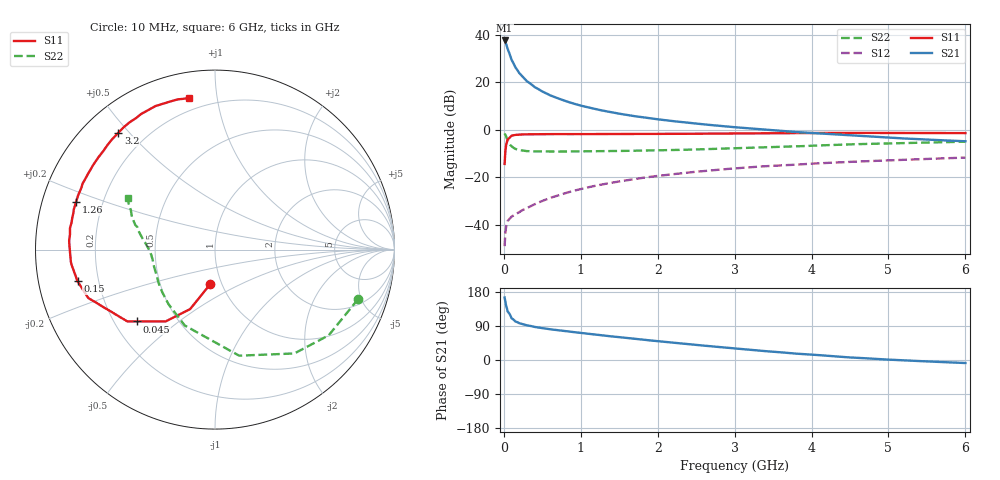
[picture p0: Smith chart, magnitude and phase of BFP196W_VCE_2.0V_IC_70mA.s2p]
! Infineon Technologies  Discrete & RF Semiconductors
! BFP196W
! VCE = 2.0 V,  IC =  70mA
! Common Emitter S-Parameters:  Jan 2016
# GHz  S  MA  R  50
!  f  S11  S21  S12  S22
! GHz  MAG  ANG  MAG  ANG  MAG  ANG  MAG  ANG
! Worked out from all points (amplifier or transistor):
!   210 points, 10 MHz to 6 GHz, reference 50 ohm
!   highest |S21| = 37.6 dB at 10 MHz (marker M1)
!   |S21| within 3 dB of that: start of sweep to 44.18 MHz
!   unconditionally stable (mu >= 1): 487.9 MHz to 3.348 GHz
!   at 185 MHz: K = 0.68, MSG = 29.8 dB, |S12| = -34.8 dB
!   at 1.52 GHz: K = 1.12, MAG = 12.0 dB, |S12| = -21.6 dB
!   at 6 GHz: K = 0.98, MSG = 3.4 dB, |S12| = -11.6 dB
!   S11 on the Smith chart (normalised r, x): 10 MHz: 0.89, -0.35; 45 MHz: 0.29, -0.36; 150 MHz: 0.12, -0.11; 1.26 GHz: 0.10, +0.16; 3.2 GHz: 0.10, +0.47; 6 GHz: 0.13, +0.83
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0.01  0.1926 -97.5  75.8 164.9  0.0036 73.7  0.8437 -19.1
0.02  0.3594 -112.7  71.19 153.4  0.007 67.4  0.7934 -37.0
0.03  0.4856 -124.5  64.12 143.0  0.0093 60.4  0.7283 -52.6
0.045  0.5911 -137.4  53.11 132.4  0.0114 51.4  0.6246 -70.2
0.05  0.6314 -140.7  49.96 127.9  0.0122 49.1  0.6059 -77.2
0.1  0.7558 -159.1  29.82 110.2  0.015 40.5  0.4549 -111.8
0.15  0.7857 -167.0  20.68 101.7  0.0168 42.1  0.3995 -130.4
0.2  0.7971 -171.7  15.68 97.2  0.0186 46.0  0.3774 -141.4
0.26  0.8059 -175.2  12.27 93.4  0.0213 49.3  0.3652 -149.3
0.3  0.8061 -177.0  10.55 91.5  0.0227 51.3  0.3581 -153.6
0.4  0.8103 179.3  7.962 87.3  0.0274 55.5  0.3537 -159.8
0.5  0.8142 176.5  6.408 84.0  0.0321 59.2  0.3529 -164.2
0.6  0.8124 174.0  5.347 81.1  0.037 60.8  0.3516 -167.3
0.8  0.8134 169.5  4.034 76.1  0.0469 63.6  0.3511 -170.9
1.02  0.8149 165.6  3.179 71.1  0.0581 64.3  0.3545 -173.8
1.26  0.8184 161.1  2.593 65.5  0.0706 63.8  0.3577 -175.9
2.02  0.8238 148.2  1.655 49.4  0.1088 59.4  0.3725 178.5
3.1  0.8424 131.2  1.105 28.8  0.1596 49.6  0.4153 170.1
3.2  0.8448 129.6  1.073 26.9  0.1639 48.6  0.42 169.3
4.1  0.8606 117.4  0.841 12.8  0.1988 40.5  0.4715 161.9
5.1  0.8622 107.0  0.673 0.1  0.2322 32.0  0.5252 154.0
6  0.856 99.8  0.577 -8.0  0.2617 25.5  0.565 149.4
